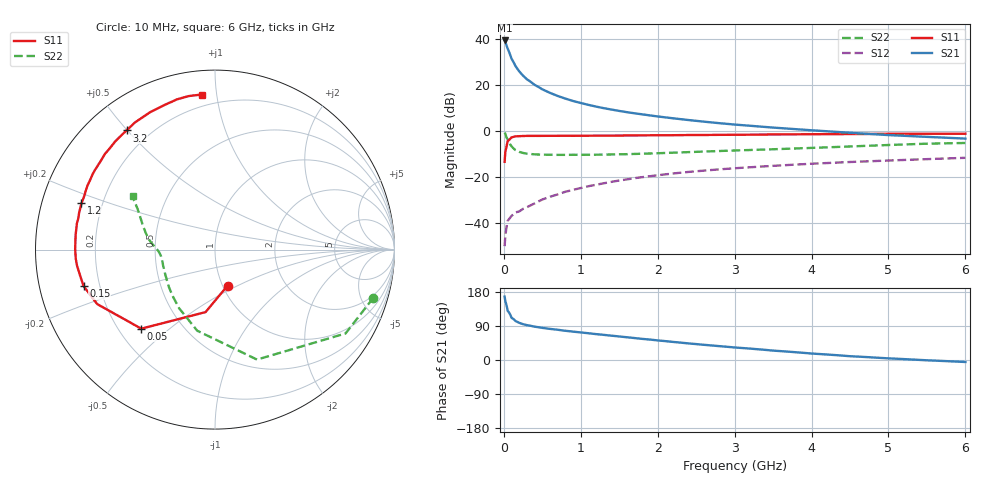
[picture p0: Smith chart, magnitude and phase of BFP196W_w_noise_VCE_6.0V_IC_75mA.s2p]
! Infineon Technologies  Discrete & RF Semiconductors
! BFP196W
! VCE =  6.0 V,  IC =  75 mA
! Common Emitter S-Parameters:  Jan 2017
# GHz  S  MA  R  50
!  f  S11  S21  S12  S22
! GHz  MAG  ANG  MAG  ANG  MAG  ANG  MAG  ANG
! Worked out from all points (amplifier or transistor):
!   77 points, 10 MHz to 6 GHz, reference 50 ohm
!   highest |S21| = 39.4 dB at 10 MHz (marker M1)
!   |S21| within 3 dB of that: start of sweep to 43.72 MHz
!   unconditionally stable (mu >= 1): 589.3 MHz to 3.286 GHz
!   at 130 MHz: K = 0.51, MSG = 32.9 dB, |S12| = -36.1 dB
!   at 2.2 GHz: K = 1.04, MAG = 10.8 dB, |S12| = -18.5 dB
!   at 6 GHz: K = 0.94, MSG = 4.2 dB, |S12| = -11.7 dB
!   lowest NFmin = 1.62 dB at 450 MHz
!   S11 on the Smith chart (normalised r, x): 10 MHz: 1.06, -0.44; 50 MHz: 0.29, -0.40; 150 MHz: 0.14, -0.13; 1.2 GHz: 0.12, +0.17; 3.2 GHz: 0.12, +0.50; 6 GHz: 0.13, +0.91
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0.01  0.2125 -70.7  92.81 167.2  0.0031 81.1  0.9224 -16.9
0.02  0.3522 -98.6  86.4 154.7  0.0053 73.8  0.8645 -32.7
0.05  0.6024 -133.0  61.61 129.7  0.011 51.2  0.6559 -69.1
0.1  0.7232 -155.2  37.2 111.3  0.0141 45.1  0.4625 -102.4
0.15  0.76 -164.5  25.93 103.1  0.0168 46.3  0.3832 -121.4
0.2  0.7665 -169.8  19.73 98.1  0.0177 48.8  0.3494 -132.7
0.25  0.7739 -173.4  15.88 94.5  0.0201 50.2  0.3308 -140.9
0.3  0.7774 -176.3  13.27 92.0  0.0218 53.6  0.3193 -146.6
0.4  0.7791 179.7  10.04 87.9  0.0264 58.2  0.3088 -154.4
0.5  0.7792 176.5  8.035 84.8  0.0321 60.9  0.3037 -159.3
0.6  0.7808 173.9  6.715 82.1  0.0368 62.4  0.3027 -162.9
0.7  0.7811 171.6  5.752 79.8  0.0415 64.5  0.3006 -165.5
0.9  0.7812 167.1  4.47 74.9  0.0521 65.0  0.3015 -169.1
1.1  0.7853 163.0  3.682 70.6  0.0625 65.4  0.3023 -171.8
1.2  0.7874 160.9  3.374 68.3  0.0673 64.7  0.3032 -173.1
1.6  0.7952 153.3  2.554 60.0  0.088 62.7  0.3115 -177.2
2.1  0.8036 144.2  1.968 49.8  0.1133 58.8  0.3308 178.3
3.1  0.8245 128.1  1.332 31.6  0.1576 49.6  0.3792 169.8
3.2  0.8269 126.6  1.293 30.1  0.1615 48.7  0.3838 168.9
4.1  0.8471 114.1  1.006 15.8  0.1963 40.9  0.4322 160.0
5.1  0.8639 103.3  0.796 3.4  0.2296 32.7  0.4994 151.1
6  0.867 94.9  0.679 -5.3  0.2594 25.6  0.5457 146.6
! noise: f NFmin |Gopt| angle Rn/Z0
0.45  1.62  0.56  -175  0.06
0.9  1.75  0.59  -169  0.07
1.9  2.61  0.7  -148  0.19
2.4  3.01  0.74  -143  0.31
